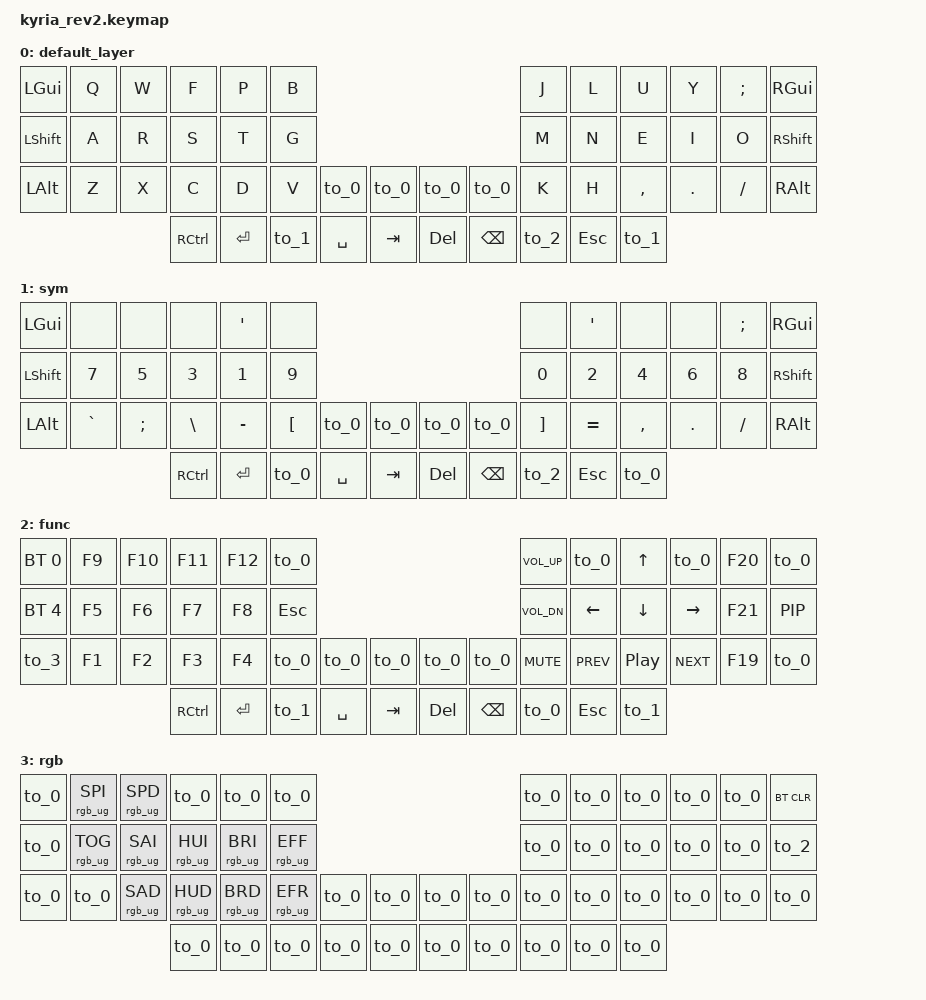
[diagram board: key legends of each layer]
/*
 * Copyright (c) 2020 The ZMK Contributors
 *
 * SPDX-License-Identifier: MIT
 */
#include <behaviors.dtsi>
#include <dt-bindings/zmk/keys.h>
#include <dt-bindings/zmk/bt.h>
#include <dt-bindings/zmk/rgb.h>

/ {
    macros {
        to_0: to_0 {
            label = "ZM_to_0";
            compatible = "zmk,behavior-macro";
            #binding-cells = <0>;
            bindings = <&kp F13 &to 0>;
        };

        to_1: to_1 {
            label = "ZM_to_1";
            compatible = "zmk,behavior-macro";
            #binding-cells = <0>;
            bindings = <&kp F16 &to 1>;
        };

        to_2: to_2 {
            label = "ZM_to_2";
            compatible = "zmk,behavior-macro";
            #binding-cells = <0>;
            bindings = <&kp F18 &to 2>;
        };

        to_3: to_3 {
            label = "ZM_to_3";
            compatible = "zmk,behavior-macro";
            #binding-cells = <0>;
            bindings = <&kp F17 &to 3>;
        };
    };

    keymap {
        compatible = "zmk,keymap";
        
        default_layer {
            bindings = <
                &kp LGUI     &kp Q        &kp W     &kp F     &kp P     &kp B                                            &kp J        &kp L        &kp U     &kp Y      &kp SEMI  &kp RGUI
                &kp LSHFT    &kp A        &kp R     &kp S     &kp T     &kp G                                            &kp M        &kp N        &kp E     &kp I      &kp O     &kp RSHIFT
                &kp LALT     &kp Z        &kp X     &kp C     &kp D     &kp V    &to_0     &to_0   /**/ &to_0   &to_0    &kp K        &kp H        &kp COMMA &kp DOT    &kp FSLH  &kp RALT
                                                    &kp RCTRL &kp ENTER &to_1    &kp SPACE &kp TAB /**/ &kp DEL &kp BSPC &to_2        &kp ESC      &to_1
            >;
        };

        sym {
            bindings = <
                &kp LGUI     &none        &none     &none     &kp SQT   &none                                            &none        &kp SQT      &none     &none      &kp SEMI  &kp RGUI
                &kp LSHFT    &kp N7       &kp N5    &kp N3    &kp N1    &kp N9                                           &kp N0       &kp N2       &kp N4    &kp N6     &kp N8    &kp RSHIFT
                &kp LALT     &kp GRAVE    &kp SEMI  &kp BSLH  &kp MINUS &kp LBKT &to_0     &to_0   /**/ &to_0   &to_0    &kp RBKT     &kp EQUAL    &kp COMMA &kp DOT    &kp FSLH  &kp RALT
                                                    &kp RCTRL &kp ENTER &to_0    &kp SPACE &kp TAB /**/ &kp DEL &kp BSPC &to_2        &kp ESC      &to_0
            >;
        };

        func {
            bindings = <
                &bt BT_SEL 0 &kp F9       &kp F10   &kp F11  &kp F12   &to_0                                             &kp C_VOL_UP &to_0        &kp UP    &to_0      &kp F20   &to_0
                &bt BT_SEL 4 &kp F5       &kp F6    &kp F7   &kp F8    &kp ESC                                           &kp C_VOL_DN &kp LEFT     &kp DOWN  &kp RIGHT  &kp F21   &kp C_PIP
                &to_3        &kp F1       &kp F2    &kp F3   &kp F4    &to_0     &to_0     &to_0   /**/ &to_0   &to_0    &kp C_MUTE   &kp C_PREV   &kp C_PP  &kp C_NEXT &kp F19   &to_0
                                                    &kp RCTRL &kp ENTER &to_1    &kp SPACE &kp TAB /**/ &kp DEL &kp BSPC &to_0        &kp ESC      &to_1
            >;
        };

        rgb {
            bindings = <
                &to_0 &rgb_ug RGB_SPI &rgb_ug RGB_SPD &to_0           &to_0           &to_0                       /**/             &to_0 &to_0 &to_0 &to_0 &to_0 &bt BT_CLR
                &to_0 &rgb_ug RGB_TOG &rgb_ug RGB_SAI &rgb_ug RGB_HUI &rgb_ug RGB_BRI &rgb_ug RGB_EFF             /**/             &to_0 &to_0 &to_0 &to_0 &to_0 &to_2
                &to_0 &to_0           &rgb_ug RGB_SAD &rgb_ug RGB_HUD &rgb_ug RGB_BRD &rgb_ug RGB_EFR &to_0 &to_0 /**/ &to_0 &to_0 &to_0 &to_0 &to_0 &to_0 &to_0 &to_0
                                                      &to_0           &to_0           &to_0           &to_0 &to_0 /**/ &to_0 &to_0 &to_0 &to_0 &to_0
            >;
        };
    };
};
